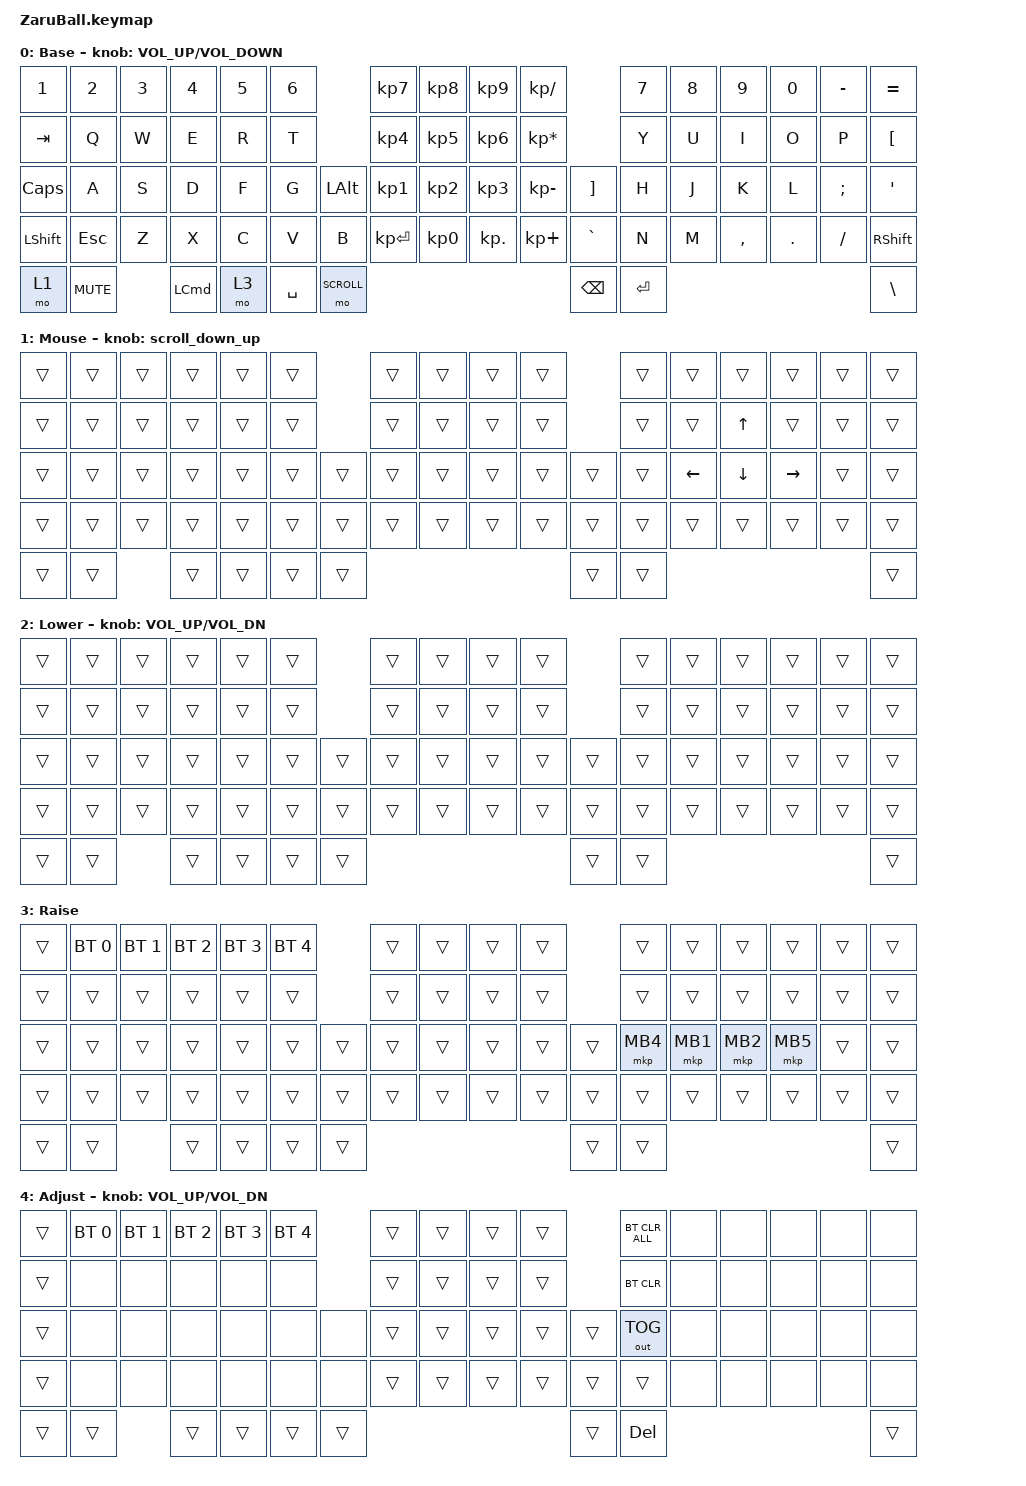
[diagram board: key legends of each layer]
//#include <dt-bindings/zmk/mouse.h>

#include <behaviors/rgbled_widget.dtsi>
#include <behaviors/naginata.dtsi>
#include <behaviors.dtsi>
#include <dt-bindings/zmk/bt.h>
#include <dt-bindings/zmk/keys.h>
#include <dt-bindings/zmk/outputs.h>
#include <dt-bindings/zmk/pointing.h>

#define BASE     0
#define MOUSE    1
#define LOWER    2
#define RAISE    3
#define ADJUST   4
#define SCROLL   2

// スクロール量の設定

#define ZMK_POINTING_DEFAULT_SCRL_VAL 25

/ {
    conditional_layers {
        compatible = "zmk,conditional-layers";

        tri_layer {
            if-layers = <2 3>;
            then-layer = <4>;
        };
    };
};

/ {
    behaviors {
        // スクロール用のbehaviorの設定

        scroll_down_up: behavior_sensor_rotate_mouse_wheel_down_up {
            compatible = "zmk,behavior-sensor-rotate";
            #sensor-binding-cells = <0>;
            bindings = <&msc SCRL_DOWN>, <&msc SCRL_UP>;

            tap-ms = <40>; // スクロールのタップ時間
        };

        td0: tap_dance_0 {
            compatible = "zmk,behavior-tap-dance";
            #binding-cells = <0>;
            tapping-term-ms = <200>;
            bindings = <&mt LALT LANG2>, <&mo RAISE>, <&mo MOUSE>;
        };

        td1: tap_dance_1 {
            compatible = "zmk,behavior-tap-dance";
            #binding-cells = <0>;
            tapping-term-ms = <200>;
            bindings = <&mt RCTL LANG1>, <&mo RAISE>, <&mo MOUSE>;
        };

        // Customed Hold-Tap for SandS

        SandS: SandS {
            compatible = "zmk,behavior-hold-tap";
            #binding-cells = <2>;
            flavor = "tap-unless-interrupted";
            tapping-term-ms = <500>;
            quick-tap-ms = <500>;
            bindings = <&kp>, <&kp>;

            display-name = "SandS";
        };
    };
};

&sl { release-after-ms = <250>; }; // time needed for double click (for mkp_exit_AML)
/ {
    macros {
        // When in AML, move to default layer when key (except mouse button) pressed

        to_layer_0: to_layer_0 {
            compatible = "zmk,behavior-macro-one-param";
            #binding-cells = <1>;
            bindings = <&tog MOUSE &macro_param_1to1 &kp MACRO_PLACEHOLDER>;
            label = "TO_layer_0";
        };

        // When LCLK pressed, exit AML (after 250ms cause by sticky layer

        mkp_exit_AML: mkp_exit_AML {
            compatible = "zmk,behavior-macro-one-param";
            #binding-cells = <1>;
            bindings =
                <&macro_press>,
                <&macro_param_1to1 &mkp MACRO_PLACEHOLDER>,
                <&macro_pause_for_release>,
                <&macro_release>,
                <&macro_param_1to1 &mkp MACRO_PLACEHOLDER>,
                <&macro_tap>,
                <&sl MOUSE>;

            label = "MKP_EXIT_AML";
        };
    };
};

/ {
    keymap {
        compatible = "zmk,keymap";

        base_layer {
            display-name = "Base";
            sensor-bindings = <&inc_dec_kp C_VOLUME_UP C_VOLUME_DOWN>;
            bindings = <
&kp NUMBER_1    &kp NUMBER_2  &kp NUMBER_3  &kp NUMBER_4      &kp N5  &kp NUMBER_6                  &kp KP_N7     &kp KP_N8  &kp KP_N9   &kp KP_DIVIDE                         &kp N7     &kp N8  &kp N9     &kp N0   &kp MINUS  &kp EQUAL
&kp TAB         &kp Q         &kp W         &kp E             &kp R   &kp T                         &kp KP_N4     &kp KP_N5  &kp KP_N6   &kp KP_MULTIPLY                       &kp Y      &kp U   &kp I      &kp O    &kp P      &kp LEFT_BRACKET
&kp CAPS        &kp A         &kp S         &kp D             &kp F   &kp G         &kp LEFT_ALT    &kp KP_N1     &kp KP_N2  &kp KP_N3   &kp KP_MINUS       &kp RIGHT_BRACKET  &kp H      &kp J   &kp K      &kp L    &kp SEMI   &kp SQT
&kp LEFT_SHIFT  &kp ESCAPE    &kp Z         &kp X             &kp C   &kp V         &kp B           &kp KP_ENTER  &kp KP_N0  &kp KP_DOT  &kp KP_PLUS        &kp GRAVE          &kp N      &kp M   &kp COMMA  &kp DOT  &kp FSLH   &kp RIGHT_SHIFT
&mo 1           &kp C_MUTE                  &kp LEFT_COMMAND  &mo 3   &kp SPACE     &mo SCROLL                                                              &kp BACKSPACE      &kp ENTER                                         &kp BACKSLASH
            >;
        };

        mouse_layer {
            display-name = "Mouse";
            sensor-bindings = <&scroll_down_up>;
            bindings = <
&trans  &trans  &trans  &trans  &trans  &trans            &trans  &trans  &trans  &trans            &trans  &trans    &trans        &trans     &trans  &trans
&trans  &trans  &trans  &trans  &trans  &trans            &trans  &trans  &trans  &trans            &trans  &trans    &kp UP_ARROW  &trans     &trans  &trans
&trans  &trans  &trans  &trans  &trans  &trans  &trans    &trans  &trans  &trans  &trans    &trans  &trans  &kp LEFT  &kp DOWN      &kp RIGHT  &trans  &trans
&trans  &trans  &trans  &trans  &trans  &trans  &trans    &trans  &trans  &trans  &trans    &trans  &trans  &trans    &trans        &trans     &trans  &trans
&trans  &trans          &trans  &trans  &trans  &trans                                      &trans  &trans                                             &trans
            >;
        };

        lower_layer {
            display-name = "Lower";
            sensor-bindings = <&inc_dec_kp C_VOL_UP C_VOL_DN>;
            bindings = <
&trans  &trans  &trans  &trans  &trans  &trans            &trans  &trans  &trans  &trans            &trans  &trans  &trans  &trans  &trans  &trans
&trans  &trans  &trans  &trans  &trans  &trans            &trans  &trans  &trans  &trans            &trans  &trans  &trans  &trans  &trans  &trans
&trans  &trans  &trans  &trans  &trans  &trans  &trans    &trans  &trans  &trans  &trans    &trans  &trans  &trans  &trans  &trans  &trans  &trans
&trans  &trans  &trans  &trans  &trans  &trans  &trans    &trans  &trans  &trans  &trans    &trans  &trans  &trans  &trans  &trans  &trans  &trans
&trans  &trans          &trans  &trans  &trans  &trans                                      &trans  &trans                                  &trans
            >;
        };

        raise_layer {
            display-name = "Raise";
            bindings = <
&trans  &bt BT_SEL 0  &bt BT_SEL 1  &bt BT_SEL 2  &bt BT_SEL 3  &bt BT_SEL 4            &trans  &trans  &trans  &trans            &trans    &trans    &trans    &trans    &trans  &trans
&trans  &trans        &trans        &trans        &trans        &trans                  &trans  &trans  &trans  &trans            &trans    &trans    &trans    &trans    &trans  &trans
&trans  &trans        &trans        &trans        &trans        &trans        &trans    &trans  &trans  &trans  &trans    &trans  &mkp MB4  &mkp MB1  &mkp MB2  &mkp MB5  &trans  &trans
&trans  &trans        &trans        &trans        &trans        &trans        &trans    &trans  &trans  &trans  &trans    &trans  &trans    &trans    &trans    &trans    &trans  &trans
&trans  &trans                      &trans        &trans        &trans        &trans                                      &trans  &trans                                          &trans
            >;
        };

        adjust_layer {
            display-name = "Adjust";
            sensor-bindings = <&inc_dec_kp C_VOL_UP C_VOL_DN>;
            bindings = <
&trans  &bt BT_SEL 0  &bt BT_SEL 1  &bt BT_SEL 2  &bt BT_SEL 3  &bt BT_SEL 4            &trans  &trans  &trans  &trans            &bt BT_CLR_ALL  &none  &none  &none  &none  &none
&trans  &none         &none         &none         &none         &none                   &trans  &trans  &trans  &trans            &bt BT_CLR      &none  &none  &none  &none  &none
&trans  &none         &none         &none         &none         &none         &none     &trans  &trans  &trans  &trans    &trans  &out OUT_TOG    &none  &none  &none  &none  &none
&trans  &none         &none         &none         &none         &none         &none     &trans  &trans  &trans  &trans    &trans  &trans          &none  &none  &none  &none  &none
&trans  &trans                      &trans        &trans        &trans        &trans                                      &trans  &kp DEL                                     &trans
            >;
        };

        // Extra layer can be added in ZMK STUDIO

        extra1 { status = "reserved"; };

        extra2 { status = "reserved"; };
    };
};
